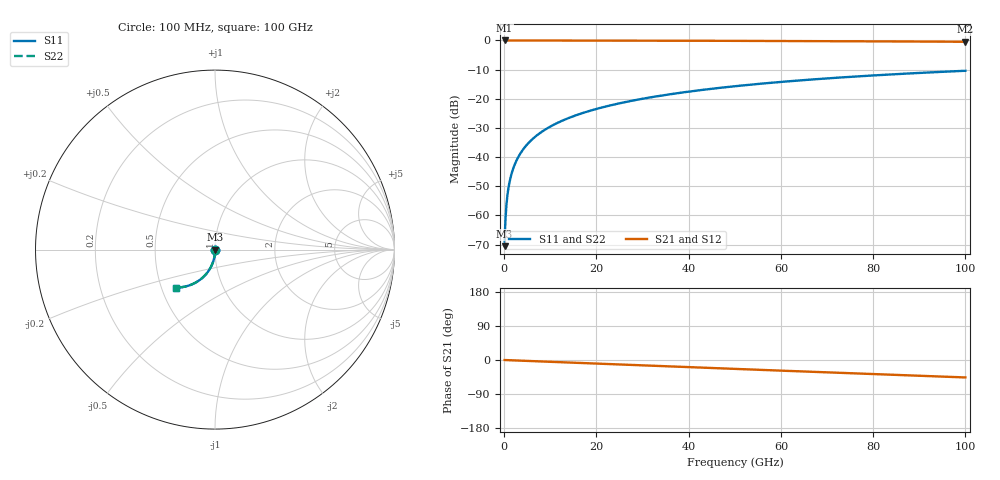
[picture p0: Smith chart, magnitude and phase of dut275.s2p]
! Touchstone file exported from HFSS 2026.1.0
!  File:  C:/ffzhzh/LocalFiles/Ansys_Project_Files/temp_train_TSV_275_1783508729_55944.aedt
!  Generated:  07:06:37 PM Jul  8, 2026
!  Design:  TSV
!  Project:  temp_train_TSV_275_1783508729_55944
! Variables:
!  h_bsmrdl = 2um
!  h_ox = 20um
!  h_rdl = 5um
!  h_sub = 91.13um
!  h_tmrdl = 5um
!  h_tsv = 91.13um
!  h_via = 3um
!  l_bsmrdl = 300um
!  l_sub = 429.96um
!  l_tmrdl = 200um
!  m_sub = 200um
!  pitch = 42.21um
!  r_tsv = 14.98um
!  s_tmrdl = 10um
!  w_bsmrdl = 18um
!  w_sub = 500um
!  w_tmrdl = 12um
!  x_tsv_center1 = 206um
!  x_tsv_center2 = 524um
!  x_tsv_center3 = 736um
!  x_tsv_center4 = 1054um
!  x_tsv_center5 = 1266um
!  x_tsv_center6 = 1584um
# GHz S MA R 50.000000
! Terminal data exported
! Port[1] = TSV1_1_T1
! Port[2] = TSV1_1_T2
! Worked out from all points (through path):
!   1000 points, 100 MHz to 100 GHz, reference 50 ohm
!   highest |S21| = 0.00 dB at 100 MHz (marker M1); lowest = -0.4 dB at 100 GHz (marker M2)
!   group delay of S21, straight-line fit = 1.28 ps
!   lowest |S11| = -70.6 dB at 100 MHz (marker M3), VSWR 1.00, Z = 50 - j0.0284 ohm
!   |S11| at or under -10 dB: start of sweep to end of sweep
!   |S22| runs from -70.6 to -10.4 dB; largest |S21 - S12| = 3.5e-15
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0.1  0.000296 -73.4  0.9999 -0.1  0.9999 -0.1  0.000296 -73.4
! Gamma 0 0 0 0
! Port Impedance 50 0 50 0
0.3  0.0008879 -81.5  0.9999 -0.1  0.9999 -0.1  0.0008879 -81.5
0.7  0.002175 -84.3  0.9998 -0.3  0.9998 -0.3  0.002175 -84.3
0.8  0.002504 -84.8  0.9998 -0.4  0.9998 -0.4  0.002504 -84.8
1  0.003164 -85.5  0.9997 -0.5  0.9997 -0.5  0.003164 -85.5
1.3  0.004154 -86.4  0.9997 -0.6  0.9997 -0.6  0.004154 -86.4
1.7  0.005476 -87.2  0.9996 -0.8  0.9996 -0.8  0.005476 -87.2
2.3  0.007466 -88.0  0.9996 -1.1  0.9996 -1.1  0.007466 -88.0
2.9  0.009464 -88.6  0.9995 -1.4  0.9995 -1.4  0.009464 -88.6
3.7  0.01214 -89.3  0.9994 -1.8  0.9994 -1.8  0.01214 -89.3
4.7  0.01549 -90.1  0.9993 -2.2  0.9993 -2.2  0.01549 -90.1
5.8  0.01919 -90.8  0.9992 -2.8  0.9992 -2.8  0.01919 -90.8
8.6  0.0286 -92.5  0.9988 -4.1  0.9988 -4.1  0.0286 -92.5
12.2  0.04072 -94.4  0.9982 -5.8  0.9982 -5.8  0.04072 -94.4
16.8  0.05616 -96.8  0.9973 -8.0  0.9973 -8.0  0.05616 -96.8
24.2  0.08085 -100.5  0.9953 -11.4  0.9953 -11.4  0.08085 -100.5
33.4  0.1111 -104.9  0.9922 -15.8  0.9922 -15.8  0.1111 -104.9
41.2  0.1362 -108.7  0.9888 -19.4  0.9888 -19.4  0.1362 -108.7
50.1  0.1642 -112.8  0.9843 -23.5  0.9843 -23.5  0.1642 -112.8
66.7  0.2139 -120.5  0.9743 -31.1  0.9743 -31.1  0.2139 -120.5
83.4  0.2601 -128.1  0.9625 -38.7  0.9625 -38.7  0.2601 -128.1
100  0.3019 -135.6  0.9497 -46.0  0.9497 -46.0  0.3019 -135.6
